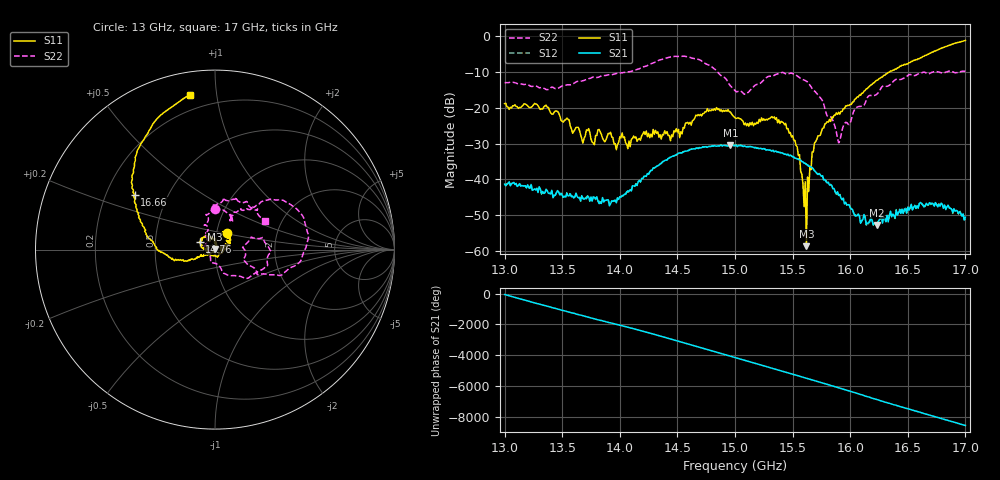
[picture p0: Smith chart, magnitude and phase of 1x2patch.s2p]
!Keysight Technologies,P9374A,MY57211807,A.19.30.04
!Date: Friday, May 08, 2026 13:58:04
!Correction: S11(C  2-Port  )
!S21(C  2-Port  )
!S12(C  2-Port  )
!S22(C  2-Port  )
!S2P File: Measurements: S11, S21, S12, S22:
# Hz S  dB  R 50
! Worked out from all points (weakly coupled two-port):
!   401 points, 13 GHz to 17 GHz, reference 50 ohm
!   highest |S21| = -30.44 dB at 14.96 GHz (marker M1); lowest = -52.8 dB at 16.23 GHz (marker M2)
!   lowest |S11| = -58.7 dB at 15.62 GHz (marker M3), VSWR 1.00, Z = 50 + j0.107 ohm
!   |S11| at or under -10 dB: start of sweep to 16.34 GHz
!   |S22| runs from -29.8 to -5.6 dB; largest |S21 - S12| = 0.00087
!   S11 on the Smith chart (normalised r, x): 13 GHz: 1.12, +0.21; 14.76 GHz: 0.84, +0.08; 16.66 GHz: 0.32, +0.28; 17 GHz: 0.12, +0.84
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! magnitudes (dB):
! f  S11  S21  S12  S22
! 13 GHz  -18.8  -41.4  -41.3  -13.0
! 13.36 GHz  -19.3  -42.8  -42.8  -14.9
! 13.67 GHz  -28.6  -44.6  -44.8  -12.5
! 13.93 GHz  -28.2  -46.0  -46.1  -10.8
! 14.07 GHz  -31.4  -43.2  -43.6  -10.0
! 14.34 GHz  -28.2  -36.0  -36.1  -6.7
! 14.52 GHz  -28.3  -32.7  -32.7  -5.6
! 14.76 GHz  -20.2  -31.0  -31.1  -7.9
! 14.96 GHz  -21.2  -30.4  -30.4  -13.9
! 15 GHz  -22.8  -30.6  -30.6  -15.2
! 15.42 GHz  -24.2  -32.8  -32.8  -10.1
! 15.54 GHz  -31.0  -34.3  -34.3  -11.1
! 15.6 GHz  -47.6  -35.5  -35.5  -12.2
! 15.62 GHz  -58.7  -35.9  -35.8  -12.6
! 15.67 GHz  -32.3  -36.8  -36.8  -14.6
! 15.78 GHz  -24.6  -40.1  -39.9  -20.1
! 15.9 GHz  -21.3  -44.5  -44.5  -29.8
! 16.05 GHz  -17.4  -50.3  -50.2  -20.1
! 16.23 GHz  -12.3  -52.8  -52.7  -16.2
! 16.34 GHz  -10.0  -50.1  -50.5  -13.7
! 16.66 GHz  -5.3  -46.7  -46.9  -10.3
! 17 GHz  -1.2  -50.6  -50.9  -9.8
